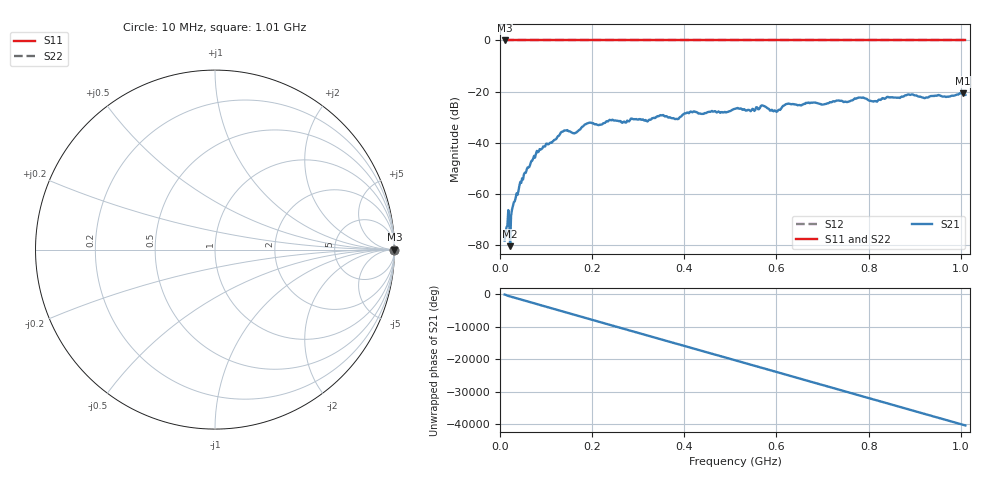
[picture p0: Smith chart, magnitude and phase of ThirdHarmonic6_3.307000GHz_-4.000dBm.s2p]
! 8/17/2025 10:19:30 AM
! C:\ANRITSUVNA\TEMP\TEMP.S2P
! CHANNEL.1
! TR.MEASUREMENT
! RAW.DATA
! RF.CORRECTION.OFF
! AVERAGING.OFF
! IF.BANDWIDTH: 5KHZ
! SWEEPTYPE:  FREQ.SWEEP(Linear)
! Reference Plane Port Info
! PORT:  PORT1  PORT2
! DISTANCE:  0  m  0  m
! TIME:  0  s  0  s
! PHASE.OFFSET:  0  deg.  0  deg.
! LOSS:  0  dB  0  dB
! REF.LOSS:  0  dB  0  dB
! REF.FREQ:  0  Hz  0  Hz
! Power Info
! POWER:  -20  dBm  -20  dBm
! EFF.POWER:  -20  dBm  -20  dBm
! SOURCE.ATTEN:  0  dB  0  dB
! TEST.ATTEN:  0  dB  0  dB
# GHZ S RI R 50.0
! FREQ.GHZ  S11RE  S11IM  S21RE  S21IM  S12RE  S12IM  S22RE  S22IM
!; PortSelection: Port_12
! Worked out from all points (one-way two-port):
!   501 points, 10 MHz to 1.01 GHz, reference 50 ohm
!   highest |S21| = -20.64 dB at 1.004 GHz (marker M1); lowest = -80.4 dB at 22 MHz (marker M2)
!   lowest |S11| = 0.0 dB at 10 MHz (marker M3)
!   |S11| at or under -10 dB: nowhere
!   |S22| runs from 0.0 to 0.0 dB; largest |S21 - S12| = 1.1
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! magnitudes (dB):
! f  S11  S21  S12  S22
! 10 MHz  0.0  -78.2  0.0  0.0
! 16 MHz  0.0  -72.5  0.0  0.0
! 22 MHz  0.0  -80.4  0.0  0.0
! 32 MHz  0.0  -62.9  0.0  0.0
! 48 MHz  0.0  -53.9  0.0  0.0
! 82 MHz  0.0  -43.7  0.0  0.0
! 136 MHz  0.0  -35.6  0.0  0.0
! 162 MHz  0.0  -36.3  0.0  0.0
! 178 MHz  0.0  -33.8  0.0  0.0
! 194 MHz  0.0  -32.1  0.0  0.0
! 318 MHz  0.0  -31.3  0.0  0.0
! 344 MHz  0.0  -29.6  0.0  0.0
! 384 MHz  0.0  -30.7  0.0  0.0
! 416 MHz  0.0  -28.0  0.0  0.0
! 510 MHz  0.0  -26.7  0.0  0.0
! 570 MHz  0.0  -25.4  0.0  0.0
! 598 MHz  0.0  -27.6  0.0  0.0
! 624 MHz  0.0  -24.8  0.0  0.0
! 678 MHz  0.0  -24.3  0.0  0.0
! 844 MHz  0.0  -22.2  0.0  0.0
! 1.004 GHz  0.0  -20.6  0.0  0.0
! 1.01 GHz  0.0  -21.3  0.0  0.0
